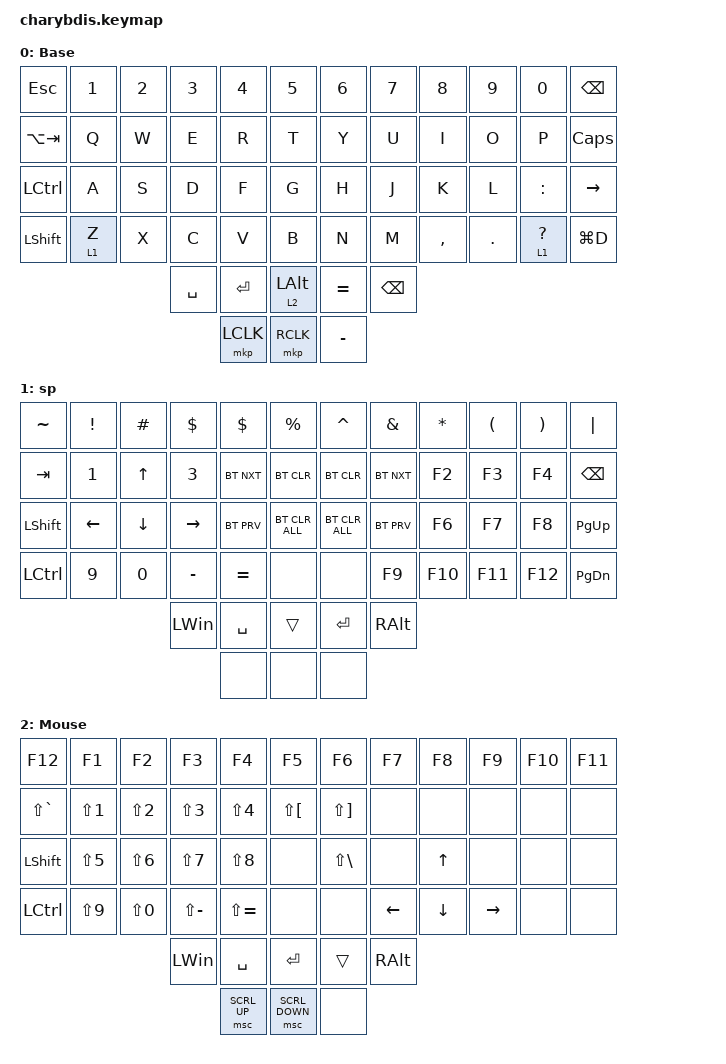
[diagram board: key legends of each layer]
#include <dt-bindings/zmk/mouse.h>
#include <behaviors.dtsi>
#include <dt-bindings/zmk/bt.h>
#include <dt-bindings/zmk/keys.h>
#include <dt-bindings/zmk/pointing.h>

&lt {
    tapping-term-ms = <200>;
    flavor = "balanced";
    quick-tap-ms = <150>;
};

/ {
    combos { compatible = "zmk,combos"; };

    keymap {
        compatible = "zmk,keymap";

        Base {
            bindings = <
&kp ESCAPE      &kp N1   &kp N2  &kp N3     &kp N4     &kp N5            &kp N6     &kp N7         &kp N8     &kp N9   &kp N0          &kp BACKSPACE
&kp LA(TAB)     &kp Q    &kp W   &kp E      &kp R      &kp T             &kp Y      &kp U          &kp I      &kp O    &kp P           &kp CAPSLOCK
&kp LCTRL       &kp A    &kp S   &kp D      &kp F      &kp G             &kp H      &kp J          &kp K      &kp L    &kp COLON       &kp RIGHT
&kp LEFT_SHIFT  &lt 1 Z  &kp X   &kp C      &kp V      &kp B             &kp N      &kp M          &kp COMMA  &kp DOT  &lt 1 QUESTION  &kp LG(D)
                                 &kp SPACE  &kp ENTER  &lt 2 LEFT_ALT    &kp EQUAL  &kp BACKSPACE
                                            &mkp LCLK  &mkp RCLK         &kp MINUS
            >;
        };

        sp {
            bindings = <
&kp TILDE  &kp EXCLAMATION  &kp HASH      &kp DOLLAR    &kp DOLLAR  &kp PERCENT       &kp CARET       &kp AMPERSAND  &kp ASTERISK  &kp LEFT_PARENTHESIS  &kp RIGHT_PARENTHESIS  &kp PIPE
&kp TAB    &kp NUMBER_1     &kp UP        &kp NUMBER_3  &bt BT_NXT  &bt BT_CLR        &bt BT_CLR      &bt BT_NXT     &kp F2        &kp F3                &kp F4                 &kp BACKSPACE
&kp LSHFT  &kp LEFT         &kp DOWN      &kp RIGHT     &bt BT_PRV  &bt BT_CLR_ALL    &bt BT_CLR_ALL  &bt BT_PRV     &kp F6        &kp F7                &kp F8                 &kp PAGE_UP
&kp LCTRL  &kp NUMBER_9     &kp NUMBER_0  &kp MINUS     &kp EQUAL   &none             &none           &kp F9         &kp F10       &kp F11               &kp F12                &kp PAGE_DOWN
                                          &kp LEFT_WIN  &kp SPACE   &trans            &kp ENTER       &kp RIGHT_ALT
                                                        &none       &none             &none
            >;
        };

        Mouse {
            bindings = <
&kp F12        &kp F1      &kp F2      &kp F3         &kp F4         &kp F5            &kp F6             &kp F7         &kp F8    &kp F9     &kp F10  &kp F11
&kp LS(GRAVE)  &kp LS(N1)  &kp LS(N2)  &kp LS(N3)     &kp LS(N4)     &kp LS(LBKT)      &kp LS(RBKT)       &none          &none     &none      &none    &none
&kp LSHFT      &kp LS(N5)  &kp LS(N6)  &kp LS(N7)     &kp LS(N8)     &none             &kp LS(BACKSLASH)  &none          &kp UP    &none      &none    &none
&kp LCTRL      &kp LS(N9)  &kp LS(N0)  &kp LS(MINUS)  &kp LS(EQUAL)  &none             &none              &kp LEFT       &kp DOWN  &kp RIGHT  &none    &none
                                       &kp LEFT_WIN   &kp SPACE      &kp ENTER         &trans             &kp RIGHT_ALT
                                                      &msc SCRL_UP   &msc SCRL_DOWN    &none
            >;
        };
    };
};
